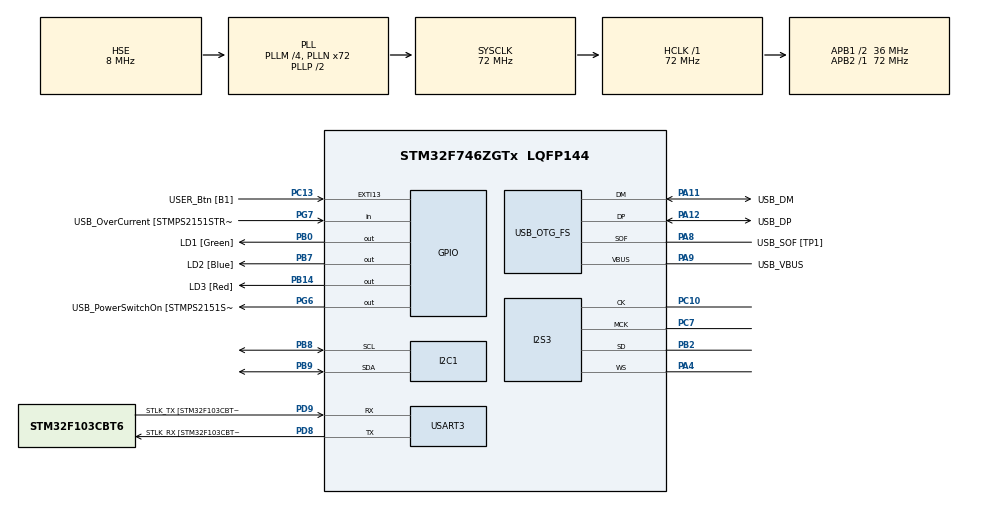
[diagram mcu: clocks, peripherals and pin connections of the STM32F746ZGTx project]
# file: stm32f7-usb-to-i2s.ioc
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CORTEX_M7.CPU_DCache=Enabled
CORTEX_M7.CPU_ICache=Enabled
CORTEX_M7.PREFETCH_ENABLE=1
Dma.Request0=SPI3_TX
Dma.SPI3_TX.0.Direction=DMA_MEMORY_TO_PERIPH
Dma.SPI3_TX.0.FIFOMode=DMA_FIFOMODE_DISABLE
Dma.SPI3_TX.0.Instance=DMA1_Stream5
Dma.SPI3_TX.0.MemDataAlignment=DMA_MDATAALIGN_HALFWORD
Dma.SPI3_TX.0.MemInc=DMA_MINC_ENABLE
Dma.SPI3_TX.0.Mode=DMA_CIRCULAR
Dma.SPI3_TX.0.PeriphDataAlignment=DMA_PDATAALIGN_HALFWORD
Dma.SPI3_TX.0.PeriphInc=DMA_PINC_DISABLE
Dma.SPI3_TX.0.Priority=DMA_PRIORITY_LOW
I2C1.Timing=0x00808CD2
I2S3.AudioFreq=I2S_AUDIOFREQ_44K
I2S3.ErrorAudioFreq=0.26 %
I2S3.FullDuplexMode=I2S_FULLDUPLEXMODE_DISABLE
I2S3.Instance=SPI$Index
I2S3.RealAudioFreq=44.117 KHz
I2S3.VirtualMode=I2S_MODE_MASTER
Mcu.Family=STM32F7
Mcu.Name=STM32F746ZGTx
Mcu.Package=LQFP144
NVIC.DMA1_Stream5_IRQn=true\:0\:0\:false\:false\:true\:false\:true
NVIC.OTG_FS_IRQn=true\:0\:0\:false\:false\:true\:true\:true
NVIC.PriorityGroup=NVIC_PRIORITYGROUP_4
NVIC.SPI3_IRQn=true\:0\:0\:false\:false\:true\:true\:true
PA10.GPIO_Label=USB_ID
PA10.Signal=USB_OTG_FS_ID
PA11.GPIO_Label=USB_DM
PA11.Mode=Device_Only
PA11.Signal=USB_OTG_FS_DM
PA12.GPIO_Label=USB_DP
PA12.Mode=Device_Only
PA12.Signal=USB_OTG_FS_DP
PA13.GPIO_Label=TMS
PA13.Mode=Serial_Wire
PA13.Signal=SYS_JTMS-SWDIO
PA14.GPIO_Label=TCK
PA14.Mode=Serial_Wire
PA14.Signal=SYS_JTCK-SWCLK
PA4.Mode=Half_Duplex_Master
PA4.Signal=I2S3_WS
PA8.GPIO_Label=USB_SOF [TP1]
PA8.Mode=Activate_SOF_FS
PA8.Signal=USB_OTG_FS_SOF
PA9.GPIO_Label=USB_VBUS
PA9.Mode=Activate_VBUS
PA9.Signal=USB_OTG_FS_VBUS
PB0.GPIO_Label=LD1 [Green]
PB0.Signal=GPIO_Output
PB14.GPIO_Label=LD3 [Red]
PB14.Signal=GPIO_Output
PB2.Mode=Half_Duplex_Master
PB2.Signal=I2S3_SD
PB3.GPIO_Label=SW0
PB3.Signal=SYS_JTDO-SWO
PB7.GPIO_Label=LD2 [Blue]
PB7.Signal=GPIO_Output
PB8.Mode=I2C
PB8.Signal=I2C1_SCL
PB9.Mode=I2C
PB9.Signal=I2C1_SDA
PC10.Mode=Half_Duplex_Master
PC10.Signal=I2S3_CK
PC13.GPIO_Label=USER_Btn [B1]
PC13.Signal=GPXTI13
PC14/OSC32_IN.Mode=LSE-External-Oscillator
PC14/OSC32_IN.Signal=RCC_OSC32_IN
PC15/OSC32_OUT.Mode=LSE-External-Oscillator
PC15/OSC32_OUT.Signal=RCC_OSC32_OUT
PC7.Mode=Master_Clock_Activated
PC7.Signal=I2S3_MCK
PD8.GPIO_Label=STLK_RX [STM32F103CBT6_PA3]
PD8.Mode=Asynchronous
PD8.Signal=USART3_TX
PD9.GPIO_Label=STLK_TX [STM32F103CBT6_PA2]
PD9.Mode=Asynchronous
PD9.Signal=USART3_RX
PG11.GPIO_Label=RMII_TX_EN [LAN8742A-CZ-TR_TXEN]
PG11.Signal=ETH_TX_EN
PG13.GPIO_Label=RMII_TXD0 [LAN8742A-CZ-TR_TXD0]
PG13.Signal=ETH_TXD0
PG6.GPIO_Label=USB_PowerSwitchOn [STMPS2151STR_EN]
PG6.Signal=GPIO_Output
PG7.GPIO_Label=USB_OverCurrent [STMPS2151STR_FAULT]
PG7.Signal=GPIO_Input
PH0/OSC_IN.GPIO_Label=MCO [STM32F103CBT6_PA8]
PH0/OSC_IN.Mode=HSE-External-Clock-Source
PH0/OSC_IN.Signal=RCC_OSC_IN
PH1/OSC_OUT.Mode=HSE-External-Clock-Source
PH1/OSC_OUT.Signal=RCC_OSC_OUT
ProjectManager.HeapSize=0x4000
ProjectManager.StackSize=0x400
ProjectManager.TargetToolchain=STM32CubeIDE
RCC.48MHZClocksFreq_Value=24000000
RCC.AHBFreq_Value=72000000
RCC.APB1CLKDivider=RCC_HCLK_DIV2
RCC.APB1Freq_Value=36000000
RCC.APB1TimFreq_Value=72000000
RCC.APB2Freq_Value=72000000
RCC.APB2TimFreq_Value=72000000
RCC.CortexFreq_Value=72000000
RCC.HCLKFreq_Value=72000000
RCC.HSE_VALUE=8000000
RCC.HSI_VALUE=16000000
RCC.PLLM=4
RCC.PLLMUL=RCC_PLL_MUL9
RCC.PLLN=72
RCC.PLLQ=3
RCC.PRESCALERUSB=RCC_USBCLKSOURCE_PLL_DIV1_5
RCC.SYSCLKFreq_VALUE=72000000
RCC.SYSCLKSource=RCC_SYSCLKSOURCE_PLLCLK
RCC.SYSCLKSourceVirtual=RCC_SYSCLKSOURCE_PLLCLK
RCC.USBFreq_Value=48000000
RCC.VCOOutputFreq_Value=144000000
USART3.VirtualMode-Asynchronous=VM_ASYNC
USB_DEVICE.CLASS_NAME_FS=AUDIO
USB_DEVICE.USBD_AUDIO_FREQ-AUDIO_FS=48000
USB_DEVICE.VirtualMode-AUDIO_FS=Audio
USB_DEVICE.VirtualModeFS=Audio_FS
USB_OTG_FS.VirtualMode=Device_Only
VP_USB_DEVICE_VS_USB_DEVICE_AUDIO_FS.Mode=AUDIO_FS
board=NUCLEO-F746ZG

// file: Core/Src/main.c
/* USER CODE BEGIN Header */
/**
  ******************************************************************************
  * @file           : main.c
  * @brief          : Main program body
  ******************************************************************************
  * @attention
  *
  * <h2><center>&copy; Copyright (c) 2020 STMicroelectronics.
  * All rights reserved.</center></h2>
  *
  * This software component is licensed by ST under BSD 3-Clause license,
  * the "License"; You may not use this file except in compliance with the
  * License. You may obtain a copy of the License at:
  *                        opensource.org/licenses/BSD-3-Clause
  *
  ******************************************************************************
  */
/* USER CODE END Header */

#include "main.h"
#include "usb_device.h"

/* USER CODE BEGIN Includes */
#include <assert.h>
#include <limits.h>
#include <math.h>

#include "pcm5242.h"
/* USER CODE END Includes */

I2C_HandleTypeDef hi2c1;

I2S_HandleTypeDef hi2s3;
DMA_HandleTypeDef hdma_spi3_tx;

UART_HandleTypeDef huart3;

/* USER CODE BEGIN PV */
static float m_DesiredOutputFreq_Hz = 1000.0f;
static float m_DAC_SampleRate_Hz;
static float m_CurrentAngle_rad;
static float m_AngleDelta_rad;

#define MAX_WAVE_LEN (64)
static int16_t m_InputWave[MAX_WAVE_LEN];
/* USER CODE END PV */

void SystemClock_Config(void);
static void MX_GPIO_Init(void);
static void MX_DMA_Init(void);
static void MX_USART3_UART_Init(void);
static void MX_I2C1_Init(void);
static void MX_I2S3_Init(void);

/* USER CODE BEGIN 0 */
static bool calculate_wave_samples(int16_t *samplePtr, int n_channels, int16_t amplitude,
        int n_samples, float *angle, float angle_delta)
{
    int i;
    int channel;

    assert(samplePtr != NULL);
    if (samplePtr == NULL)
        return false;

    assert(angle != NULL);
    if (angle == NULL)
        return false;

    for (i = 0; i < n_samples; i += n_channels, samplePtr += n_channels)
    {
        *samplePtr = amplitude * cosf(*angle);
        for (channel = 1; channel < n_channels; channel++)
        {
        	samplePtr[channel] = *samplePtr;
        }

        *angle += angle_delta;
        if (*angle > 2.0f * M_PI)
        	*angle -= 2.0f * M_PI;
    }

    return true;
}
/* USER CODE END 0 */

int main(void)
{

  /* Enable I-Cache---------------------------------------------------------*/
  SCB_EnableICache();

  /* Enable D-Cache---------------------------------------------------------*/
  SCB_EnableDCache();

  /* MCU Configuration--------------------------------------------------------*/

  /* Reset of all peripherals, Initializes the Flash interface and the Systick. */
  HAL_Init();

  /* Configure the system clock */
  SystemClock_Config();

  /* Initialize all configured peripherals */
  MX_DMA_Init();
  MX_GPIO_Init();
  MX_USART3_UART_Init();
  MX_USB_DEVICE_Init();
  MX_I2C1_Init();
  MX_I2S3_Init();
  /* USER CODE BEGIN 2 */
    pcm5242_handle_t pcm5242;
    const uint8_t pcm5242_addr = 0x98;

    pcm5242 = PCM5242_Init(&hi2c1, pcm5242_addr);
    assert(pcm5242 != NULL);

    bool result;
    const uint8_t bits_per_word = 16;
    const uint8_t offset_bck = 0;

    result = PCM5242_SetI2SFormat(pcm5242, bits_per_word, offset_bck);
    assert(result);
    if (!result)
    {
        while (1);
    }

    // Want: 1khz full scale sine wave.
    m_CurrentAngle_rad = 0.0f;
    m_DAC_SampleRate_Hz = hi2s3.Init.AudioFreq;
    m_AngleDelta_rad = 2.0f * M_PI * m_DesiredOutputFreq_Hz / m_DAC_SampleRate_Hz;

    if (!calculate_wave_samples(m_InputWave, 2, INT16_MAX, MAX_WAVE_LEN, &m_CurrentAngle_rad, m_AngleDelta_rad))
    {
    	while (1);
    }

    HAL_I2S_Transmit_DMA(&hi2s3, (uint16_t *)m_InputWave, MAX_WAVE_LEN);

  /* USER CODE END 2 */

  /* Infinite loop */
    while (1) {

    }
}

void SystemClock_Config(void)
{
  RCC_OscInitTypeDef RCC_OscInitStruct = {0};
  RCC_ClkInitTypeDef RCC_ClkInitStruct = {0};
  RCC_PeriphCLKInitTypeDef PeriphClkInitStruct = {0};

  /** Configure LSE Drive Capability
  */
  HAL_PWR_EnableBkUpAccess();
  /** Configure the main internal regulator output voltage
  */
  __HAL_RCC_PWR_CLK_ENABLE();
  __HAL_PWR_VOLTAGESCALING_CONFIG(PWR_REGULATOR_VOLTAGE_SCALE3);
  /** Initializes the CPU, AHB and APB busses clocks
  */
  RCC_OscInitStruct.OscillatorType = RCC_OSCILLATORTYPE_HSE;
  RCC_OscInitStruct.HSEState = RCC_HSE_BYPASS;
  RCC_OscInitStruct.PLL.PLLState = RCC_PLL_ON;
  RCC_OscInitStruct.PLL.PLLSource = RCC_PLLSOURCE_HSE;
  RCC_OscInitStruct.PLL.PLLM = 4;
  RCC_OscInitStruct.PLL.PLLN = 72;
  RCC_OscInitStruct.PLL.PLLP = RCC_PLLP_DIV2;
  RCC_OscInitStruct.PLL.PLLQ = 3;
  if (HAL_RCC_OscConfig(&RCC_OscInitStruct) != HAL_OK)
  {
    Error_Handler();
  }
  /** Initializes the CPU, AHB and APB busses clocks
  */
  RCC_ClkInitStruct.ClockType = RCC_CLOCKTYPE_HCLK|RCC_CLOCKTYPE_SYSCLK
                              |RCC_CLOCKTYPE_PCLK1|RCC_CLOCKTYPE_PCLK2;
  RCC_ClkInitStruct.SYSCLKSource = RCC_SYSCLKSOURCE_PLLCLK;
  RCC_ClkInitStruct.AHBCLKDivider = RCC_SYSCLK_DIV1;
  RCC_ClkInitStruct.APB1CLKDivider = RCC_HCLK_DIV2;
  RCC_ClkInitStruct.APB2CLKDivider = RCC_HCLK_DIV1;

  if (HAL_RCC_ClockConfig(&RCC_ClkInitStruct, FLASH_LATENCY_2) != HAL_OK)
  {
    Error_Handler();
  }
  PeriphClkInitStruct.PeriphClockSelection = RCC_PERIPHCLK_USART3|RCC_PERIPHCLK_I2C1
                              |RCC_PERIPHCLK_I2S|RCC_PERIPHCLK_CLK48;
  PeriphClkInitStruct.PLLI2S.PLLI2SN = 192;
  PeriphClkInitStruct.PLLI2S.PLLI2SP = RCC_PLLP_DIV2;
  PeriphClkInitStruct.PLLI2S.PLLI2SR = 2;
  PeriphClkInitStruct.PLLI2S.PLLI2SQ = 2;
  PeriphClkInitStruct.PLLI2SDivQ = 1;
  PeriphClkInitStruct.I2sClockSelection = RCC_I2SCLKSOURCE_PLLI2S;
  PeriphClkInitStruct.Usart3ClockSelection = RCC_USART3CLKSOURCE_PCLK1;
  PeriphClkInitStruct.I2c1ClockSelection = RCC_I2C1CLKSOURCE_PCLK1;
  PeriphClkInitStruct.Clk48ClockSelection = RCC_CLK48SOURCE_PLL;
  if (HAL_RCCEx_PeriphCLKConfig(&PeriphClkInitStruct) != HAL_OK)
  {
    Error_Handler();
  }
}

static void MX_I2C1_Init(void)
{

  hi2c1.Instance = I2C1;
  hi2c1.Init.Timing = 0x00808CD2;
  hi2c1.Init.OwnAddress1 = 0;
  hi2c1.Init.AddressingMode = I2C_ADDRESSINGMODE_7BIT;
  hi2c1.Init.DualAddressMode = I2C_DUALADDRESS_DISABLE;
  hi2c1.Init.OwnAddress2 = 0;
  hi2c1.Init.OwnAddress2Masks = I2C_OA2_NOMASK;
  hi2c1.Init.GeneralCallMode = I2C_GENERALCALL_DISABLE;
  hi2c1.Init.NoStretchMode = I2C_NOSTRETCH_DISABLE;
  if (HAL_I2C_Init(&hi2c1) != HAL_OK)
  {
    Error_Handler();
  }
  /** Configure Analogue filter
  */
  if (HAL_I2CEx_ConfigAnalogFilter(&hi2c1, I2C_ANALOGFILTER_ENABLE) != HAL_OK)
  {
    Error_Handler();
  }
  /** Configure Digital filter
  */
  if (HAL_I2CEx_ConfigDigitalFilter(&hi2c1, 0) != HAL_OK)
  {
    Error_Handler();
  }

}

static void MX_I2S3_Init(void)
{

  hi2s3.Instance = SPI3;
  hi2s3.Init.Mode = I2S_MODE_MASTER_TX;
  hi2s3.Init.Standard = I2S_STANDARD_PHILIPS;
  hi2s3.Init.DataFormat = I2S_DATAFORMAT_16B;
  hi2s3.Init.MCLKOutput = I2S_MCLKOUTPUT_ENABLE;
  hi2s3.Init.AudioFreq = I2S_AUDIOFREQ_44K;
  hi2s3.Init.CPOL = I2S_CPOL_LOW;
  hi2s3.Init.ClockSource = I2S_CLOCK_PLL;
  if (HAL_I2S_Init(&hi2s3) != HAL_OK)
  {
    Error_Handler();
  }

}

static void MX_USART3_UART_Init(void)
{

  huart3.Instance = USART3;
  huart3.Init.BaudRate = 115200;
  huart3.Init.WordLength = UART_WORDLENGTH_8B;
  huart3.Init.StopBits = UART_STOPBITS_1;
  huart3.Init.Parity = UART_PARITY_NONE;
  huart3.Init.Mode = UART_MODE_TX_RX;
  huart3.Init.HwFlowCtl = UART_HWCONTROL_NONE;
  huart3.Init.OverSampling = UART_OVERSAMPLING_16;
  huart3.Init.OneBitSampling = UART_ONE_BIT_SAMPLE_DISABLE;
  huart3.AdvancedInit.AdvFeatureInit = UART_ADVFEATURE_NO_INIT;
  if (HAL_UART_Init(&huart3) != HAL_OK)
  {
    Error_Handler();
  }

}

static void MX_DMA_Init(void)
{

  /* DMA controller clock enable */
  __HAL_RCC_DMA1_CLK_ENABLE();

  /* DMA interrupt init */
  /* DMA1_Stream5_IRQn interrupt configuration */
  HAL_NVIC_SetPriority(DMA1_Stream5_IRQn, 0, 0);
  HAL_NVIC_EnableIRQ(DMA1_Stream5_IRQn);

}

static void MX_GPIO_Init(void)
{
  GPIO_InitTypeDef GPIO_InitStruct = {0};

  /* GPIO Ports Clock Enable */
  __HAL_RCC_GPIOC_CLK_ENABLE();
  __HAL_RCC_GPIOH_CLK_ENABLE();
  __HAL_RCC_GPIOA_CLK_ENABLE();
  __HAL_RCC_GPIOB_CLK_ENABLE();
  __HAL_RCC_GPIOD_CLK_ENABLE();
  __HAL_RCC_GPIOG_CLK_ENABLE();

  /*Configure GPIO pin Output Level */
  HAL_GPIO_WritePin(GPIOB, LD1_Pin|LD3_Pin|LD2_Pin, GPIO_PIN_RESET);

  /*Configure GPIO pin Output Level */
  HAL_GPIO_WritePin(USB_PowerSwitchOn_GPIO_Port, USB_PowerSwitchOn_Pin, GPIO_PIN_RESET);

  /*Configure GPIO pin : USER_Btn_Pin */
  GPIO_InitStruct.Pin = USER_Btn_Pin;
  GPIO_InitStruct.Mode = GPIO_MODE_IT_RISING;
  GPIO_InitStruct.Pull = GPIO_NOPULL;
  HAL_GPIO_Init(USER_Btn_GPIO_Port, &GPIO_InitStruct);

  /*Configure GPIO pins : LD1_Pin LD3_Pin LD2_Pin */
  GPIO_InitStruct.Pin = LD1_Pin|LD3_Pin|LD2_Pin;
  GPIO_InitStruct.Mode = GPIO_MODE_OUTPUT_PP;
  GPIO_InitStruct.Pull = GPIO_NOPULL;
  GPIO_InitStruct.Speed = GPIO_SPEED_FREQ_LOW;
  HAL_GPIO_Init(GPIOB, &GPIO_InitStruct);

  /*Configure GPIO pin : USB_PowerSwitchOn_Pin */
  GPIO_InitStruct.Pin = USB_PowerSwitchOn_Pin;
  GPIO_InitStruct.Mode = GPIO_MODE_OUTPUT_PP;
  GPIO_InitStruct.Pull = GPIO_NOPULL;
  GPIO_InitStruct.Speed = GPIO_SPEED_FREQ_LOW;
  HAL_GPIO_Init(USB_PowerSwitchOn_GPIO_Port, &GPIO_InitStruct);

  /*Configure GPIO pin : USB_OverCurrent_Pin */
  GPIO_InitStruct.Pin = USB_OverCurrent_Pin;
  GPIO_InitStruct.Mode = GPIO_MODE_INPUT;
  GPIO_InitStruct.Pull = GPIO_NOPULL;
  HAL_GPIO_Init(USB_OverCurrent_GPIO_Port, &GPIO_InitStruct);

  /*Configure GPIO pins : RMII_TX_EN_Pin RMII_TXD0_Pin */
  GPIO_InitStruct.Pin = RMII_TX_EN_Pin|RMII_TXD0_Pin;
  GPIO_InitStruct.Mode = GPIO_MODE_AF_PP;
  GPIO_InitStruct.Pull = GPIO_NOPULL;
  GPIO_InitStruct.Speed = GPIO_SPEED_FREQ_VERY_HIGH;
  GPIO_InitStruct.Alternate = GPIO_AF11_ETH;
  HAL_GPIO_Init(GPIOG, &GPIO_InitStruct);

}

/* USER CODE BEGIN 4 */
void HAL_I2S_TxHalfCpltCallback(I2S_HandleTypeDef *hi2s)
{
	HAL_GPIO_TogglePin(LD3_GPIO_Port, LD3_Pin);

	// The first half has been transferred, overwrite that.
	if (!calculate_wave_samples(&m_InputWave[0], 2, INT16_MAX, MAX_WAVE_LEN / 2, &m_CurrentAngle_rad, m_AngleDelta_rad))
    {
	    while(1);
    }

//    HalfTransfer_CallBack_FS();
}

void HAL_I2S_TxCpltCallback(I2S_HandleTypeDef *hi2s)
{
	HAL_GPIO_TogglePin(LD2_GPIO_Port, LD2_Pin);

	// Calculate the second half of the wave
//	HAL_I2S_DMAPause(hi2s);
    if (!calculate_wave_samples(&m_InputWave[MAX_WAVE_LEN / 2], 2, INT16_MAX, MAX_WAVE_LEN / 2, &m_CurrentAngle_rad, m_AngleDelta_rad))
    {
        while(1);
    }
//    TransferComplete_CallBack_FS();
}
/* USER CODE END 4 */

void Error_Handler(void)
{
}

/************************ (C) COPYRIGHT STMicroelectronics *****END OF FILE****/
